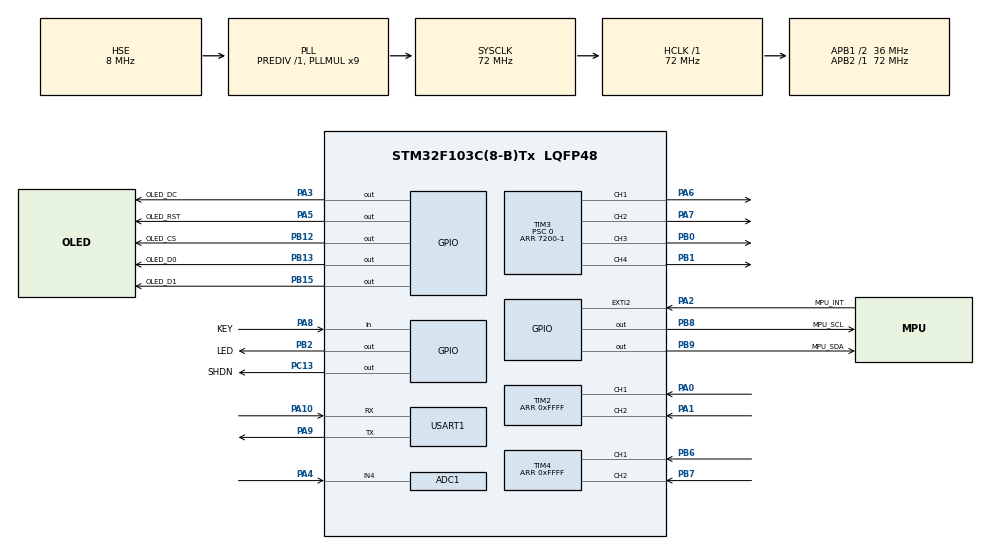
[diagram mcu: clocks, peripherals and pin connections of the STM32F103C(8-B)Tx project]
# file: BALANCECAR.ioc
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ADC1.Channel-0\#ChannelRegularConversion=ADC_CHANNEL_4
ADC1.NbrOfConversionFlag=1
ADC1.Rank-0\#ChannelRegularConversion=1
ADC1.SamplingTime-0\#ChannelRegularConversion=ADC_SAMPLETIME_239CYCLES_5
ADC1.master=1
Dma.Request0=USART1_RX
Dma.USART1_RX.0.Direction=DMA_PERIPH_TO_MEMORY
Dma.USART1_RX.0.Instance=DMA1_Channel5
Dma.USART1_RX.0.MemDataAlignment=DMA_MDATAALIGN_BYTE
Dma.USART1_RX.0.MemInc=DMA_MINC_ENABLE
Dma.USART1_RX.0.Mode=DMA_CIRCULAR
Dma.USART1_RX.0.PeriphDataAlignment=DMA_PDATAALIGN_BYTE
Dma.USART1_RX.0.PeriphInc=DMA_PINC_DISABLE
Dma.USART1_RX.0.Priority=DMA_PRIORITY_LOW
Mcu.Family=STM32F1
Mcu.Name=STM32F103C(8-B)Tx
Mcu.Package=LQFP48
NVIC.DMA1_Channel5_IRQn=true\:0\:0\:false\:false\:true\:false\:true
NVIC.PriorityGroup=NVIC_PRIORITYGROUP_4
NVIC.TIM2_IRQn=true\:1\:0\:true\:false\:true\:true\:true
NVIC.TIM4_IRQn=true\:1\:0\:true\:false\:true\:true\:true
NVIC.USART1_IRQn=true\:2\:0\:true\:false\:true\:true\:true
PA0-WKUP.Signal=S_TIM2_CH1_ETR
PA1.Signal=S_TIM2_CH2
PA10.Mode=Asynchronous
PA10.Signal=USART1_RX
PA13.Mode=Serial_Wire
PA13.Signal=SYS_JTMS-SWDIO
PA14.Mode=Serial_Wire
PA14.Signal=SYS_JTCK-SWCLK
PA2.GPIO_Label=MPU_INT
PA2.GPIO_PuPd=GPIO_PULLUP
PA2.Signal=GPXTI2
PA3.GPIO_Label=OLED_DC
PA3.GPIO_Speed=GPIO_SPEED_FREQ_HIGH
PA3.PinState=GPIO_PIN_SET
PA3.Signal=GPIO_Output
PA4.Signal=ADCx_IN4
PA5.GPIO_Label=OLED_RST
PA5.GPIO_Speed=GPIO_SPEED_FREQ_HIGH
PA5.PinState=GPIO_PIN_SET
PA5.Signal=GPIO_Output
PA6.Signal=S_TIM3_CH1
PA7.Signal=S_TIM3_CH2
PA8.GPIO_Label=KEY
PA8.GPIO_PuPd=GPIO_PULLUP
PA8.Signal=GPIO_Input
PA9.Mode=Asynchronous
PA9.Signal=USART1_TX
PB0.Signal=S_TIM3_CH3
PB1.Signal=S_TIM3_CH4
PB12.GPIO_Label=OLED_CS
PB12.GPIO_Speed=GPIO_SPEED_FREQ_HIGH
PB12.PinState=GPIO_PIN_SET
PB12.Signal=GPIO_Output
PB13.GPIO_Label=OLED_D0
PB13.GPIO_Speed=GPIO_SPEED_FREQ_HIGH
PB13.PinState=GPIO_PIN_SET
PB13.Signal=GPIO_Output
PB15.GPIO_Label=OLED_D1
PB15.GPIO_Speed=GPIO_SPEED_FREQ_HIGH
PB15.PinState=GPIO_PIN_SET
PB15.Signal=GPIO_Output
PB2.GPIO_Label=LED
PB2.PinState=GPIO_PIN_SET
PB2.Signal=GPIO_Output
PB6.Signal=S_TIM4_CH1
PB7.Signal=S_TIM4_CH2
PB8.GPIO_Label=MPU_SCL
PB8.GPIO_ModeDefaultOutputPP=GPIO_MODE_OUTPUT_OD
PB8.GPIO_PuPd=GPIO_PULLUP
PB8.GPIO_Speed=GPIO_SPEED_FREQ_HIGH
PB8.Signal=GPIO_Output
PB9.GPIO_Label=MPU_SDA
PB9.GPIO_ModeDefaultOutputPP=GPIO_MODE_OUTPUT_OD
PB9.GPIO_PuPd=GPIO_PULLUP
PB9.GPIO_Speed=GPIO_SPEED_FREQ_HIGH
PB9.Signal=GPIO_Output
PC13-TAMPER-RTC.GPIO_Label=SHDN
PC13-TAMPER-RTC.Signal=GPIO_Output
PC14-OSC32_IN.Mode=LSE-External-Oscillator
PC14-OSC32_IN.Signal=RCC_OSC32_IN
PC15-OSC32_OUT.Mode=LSE-External-Oscillator
PC15-OSC32_OUT.Signal=RCC_OSC32_OUT
PD0-OSC_IN.Mode=HSE-External-Oscillator
PD0-OSC_IN.Signal=RCC_OSC_IN
PD1-OSC_OUT.Mode=HSE-External-Oscillator
PD1-OSC_OUT.Signal=RCC_OSC_OUT
ProjectManager.HeapSize=0x200
ProjectManager.StackSize=0x400
ProjectManager.TargetToolchain=MDK-ARM V5
RCC.ADCPresc=RCC_ADCPCLK2_DIV6
RCC.AHBFreq_Value=72000000
RCC.APB1CLKDivider=RCC_HCLK_DIV2
RCC.APB1Freq_Value=36000000
RCC.APB1TimFreq_Value=72000000
RCC.APB2Freq_Value=72000000
RCC.APB2TimFreq_Value=72000000
RCC.HCLKFreq_Value=72000000
RCC.PLLMUL=RCC_PLL_MUL9
RCC.PLLSourceVirtual=RCC_PLLSOURCE_HSE
RCC.RTCClockSelection=RCC_RTCCLKSOURCE_LSE
RCC.SYSCLKFreq_VALUE=72000000
RCC.SYSCLKSource=RCC_SYSCLKSOURCE_PLLCLK
RCC.USBFreq_Value=72000000
SH.ADCx_IN4.0=ADC1_IN4,IN4
SH.S_TIM2_CH1_ETR.0=TIM2_CH1,Encoder_Interface
SH.S_TIM2_CH2.0=TIM2_CH2,Encoder_Interface
SH.S_TIM3_CH1.0=TIM3_CH1,PWM Generation1 CH1
SH.S_TIM3_CH2.0=TIM3_CH2,PWM Generation2 CH2
SH.S_TIM3_CH3.0=TIM3_CH3,PWM Generation3 CH3
SH.S_TIM3_CH4.0=TIM3_CH4,PWM Generation4 CH4
SH.S_TIM4_CH1.0=TIM4_CH1,Encoder_Interface
SH.S_TIM4_CH2.0=TIM4_CH2,Encoder_Interface
TIM2.Period=0xFFFF
TIM3.Channel-PWM\ Generation1\ CH1=TIM_CHANNEL_1
TIM3.Channel-PWM\ Generation2\ CH2=TIM_CHANNEL_2
TIM3.Channel-PWM\ Generation3\ CH3=TIM_CHANNEL_3
TIM3.Channel-PWM\ Generation4\ CH4=TIM_CHANNEL_4
TIM3.Period=7200-1
TIM3.Prescaler=0
TIM4.Period=0xFFFF
USART1.VirtualMode=VM_ASYNC
VP_RTC_No_RTC_Output.Mode=RTC_OUT_NO
VP_RTC_VS_RTC_Activate.Mode=RTC_Enabled
VP_TIM3_VS_ClockSourceINT.Mode=Internal
board=custom

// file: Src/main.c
/* USER CODE BEGIN Header */
/**
  ******************************************************************************
  * @file           : main.c
  * @brief          : Main program body
  ******************************************************************************
  * @attention
  *
  * <h2><center>&copy; Copyright (c) 2020 STMicroelectronics.
  * All rights reserved.</center></h2>
  *
  * This software component is licensed by ST under BSD 3-Clause license,
  * the "License"; You may not use this file except in compliance with the
  * License. You may obtain a copy of the License at:
  *                        opensource.org/licenses/BSD-3-Clause
  *
  ******************************************************************************
  */
/* USER CODE END Header */

#include "main.h"
#include "adc.h"
#include "dma.h"
#include "rtc.h"
#include "tim.h"
#include "usart.h"
#include "gpio.h"

/* USER CODE BEGIN Includes */
#include "oled.h"
#include "mpu6050.h"
#include "motor.h"
/* USER CODE END Includes */

void SystemClock_Config(void);

/* USER CODE BEGIN 0 */
void NVIC_SetVectorTable(uint32_t NVIC_VectTab, uint32_t Offset)
{
    /* Check the parameters */
    assert_param(IS_NVIC_VECTTAB(NVIC_VectTab));
    assert_param(IS_NVIC_OFFSET(Offset));

    SCB->VTOR = NVIC_VectTab | (Offset & (uint32_t)0x1FFFFF80);
}

void Get_Battery_Message(float * vol,uint8_t * percent)
{
    static uint8_t flag = 0;
    uint32_t ADCConvertedValue;
    float battery=0;
    uint32_t temp=0;
    uint8_t i=0,j=0;

    for(i=0; i<5; i++)
    {
        HAL_ADC_Start(&hadc1);
        HAL_ADC_PollForConversion(&hadc1, 50);
        if(HAL_IS_BIT_SET(HAL_ADC_GetState(&hadc1), HAL_ADC_STATE_REG_EOC))
        {
            ADCConvertedValue = HAL_ADC_GetValue(&hadc1);
            j++;
            temp += ADCConvertedValue;
        }
    }
    ADCConvertedValue = temp / j;
// HAL_ADC_Start(&hadc1);
// HAL_ADC_PollForConversion(&hadc1, 50);
// if(HAL_IS_BIT_SET(HAL_ADC_GetState(&hadc1), HAL_ADC_STATE_REG_EOC))
    {
//  ADCConvertedValue = HAL_ADC_GetValue(&hadc1);
        float bat = ADCConvertedValue * 3.3f * 11 / 4.096f;
        battery = (bat * 0.001f - 3.25f * 4) * 100 / (4.15f * 4 - 3.25f * 4);
        if(battery >= 100)
        {
            battery = 100;
        }
        else if(battery <= 0)
        {
            battery = 0;
        }
        if(!flag)
        {
            flag = 1;
            * vol = bat * 0.001f;
            * percent = (uint8_t)battery;
        }
        else
        {
            * vol = * vol * 0.9f + bat * 0.0001f;
            * percent = * percent * 0.9f + (uint8_t)battery * 0.1f;
        }
    }
}

#define LOW_POWER_EN 0

#if (LOW_POWER_EN > 0)

#define LOW_VOL 20    //低电量警告阈值
#define ENOUGH_VOL 35   //解除低电量阈值
#define POWER_TEST_TIME 1600 //一分钟持续检测

uint16_t low_power_count=0;  //低电量计数
uint8_t low_power_flag = 0;  //低电量标志

void low_power_check(void)
{
    float bat;
    uint8_t per;
    Get_Battery_Message(&bat,&per);
    if(per < LOW_VOL)
    {
        low_power_count ++;
        if(low_power_count > POWER_TEST_TIME)
        {
            low_power_count = POWER_TEST_TIME;
            low_power_flag = 1;
        }
    }
    else if(low_power_flag == 1)
    {
        if(per >= ENOUGH_VOL)
        {
            if(low_power_count > 0)
            {
                low_power_count --;
            }
            else if(low_power_count == 0)
            {
                low_power_flag = 0;
            }
        }
    }
}
#endif

extern unsigned short SoftTimer[5];
extern float Pitch,Roll,Yaw;
extern float g_fLeftMotorOut;
extern float g_fRightMotorOut;

volatile uint8_t system_ok_flag = 0;

//秒级任务
void SecTask()
{
    if(SoftTimer[0])
        return;
    else
    {
        SoftTimer[0] = 1000;
    }
    g_RunTime++;    // 记录运行时间

    g_BatVolt = 720; // 读取电池电压
    if(StatusFlag)
    ResponseStatus();

    HAL_GPIO_WritePin(LED_GPIO_Port,LED_Pin,GPIO_PIN_RESET);
}

__IO uint8_t usart_temp;

void HAL_UART_RxCpltCallback(UART_HandleTypeDef *huart)
{
    if(huart->Instance == USART1)
    {
        if(Uart2Index>=Uart2BufferSize)Uart2Index = 0;
        {
            Uart2Buffer[Uart2Index++] = usart_temp;
        }
        HAL_UART_Receive_DMA(&huart1,(uint8_t *)&usart_temp,1);
    }
}

/* USER CODE END 0 */

int main(void)
{
  /* USER CODE BEGIN 1 */
    char string_val[200];
    float battery=0;        //电压
    uint8_t persent=0;      //电量百分比
    uint8_t refresh_data=0;
  /* USER CODE END 1 */

  /* MCU Configuration--------------------------------------------------------*/

  /* Reset of all peripherals, Initializes the Flash interface and the Systick. */
  HAL_Init();

  /* Configure the system clock */
  SystemClock_Config();

  /* Initialize all configured peripherals */
  MX_GPIO_Init();
  MX_DMA_Init();
  MX_RTC_Init();
  MX_USART1_UART_Init();
  MX_ADC1_Init();
  MX_TIM2_Init();
  MX_TIM3_Init();
  MX_TIM4_Init();
  /* USER CODE BEGIN 2 */
    RTC_Init();

    i2cInit();    //初始化I2C
    MPU6050_Init();

    OLED_Init();
    OLED_Clear();
    OLED_ShowString(0,0,"Balance V1.3",16);
    OLED_Refresh_Gram();
    printf("hello world\r\n");

    HAL_TIM_PWM_Start(&htim3,TIM_CHANNEL_1);
    HAL_TIM_PWM_Start(&htim3,TIM_CHANNEL_2);
    HAL_TIM_PWM_Start(&htim3,TIM_CHANNEL_3);
    HAL_TIM_PWM_Start(&htim3,TIM_CHANNEL_4);
    __HAL_TIM_SET_COMPARE(&htim3,TIM_CHANNEL_1,0);
    __HAL_TIM_SET_COMPARE(&htim3,TIM_CHANNEL_2,0);//CC2>CC1电机1轴顺时针旋转
    __HAL_TIM_SET_COMPARE(&htim3,TIM_CHANNEL_3,0);
    __HAL_TIM_SET_COMPARE(&htim3,TIM_CHANNEL_4,0);//CC4>CC3电机2轴顺时针旋转
    HAL_TIM_Encoder_Start(&htim2,TIM_CHANNEL_ALL);
    HAL_TIM_Encoder_Start(&htim4,TIM_CHANNEL_ALL);
    g_cMotorDisable = 0;

    //PIDInit();
    CarUpstandInit();

    system_ok_flag = 1;

    HAL_GPIO_WritePin(SHDN_GPIO_Port,SHDN_Pin,GPIO_PIN_SET);
  /* USER CODE END 2 */

  /* Infinite loop */
  /* USER CODE BEGIN WHILE */
    HAL_UART_Receive_DMA(&huart1,(uint8_t *)&usart_temp,1);

    while (1)
    {
    /* USER CODE END WHILE */

    /* USER CODE BEGIN 3 */

        SecTask();

        if(SoftTimer[1] == 0)
        {
            // 每隔50ms 执行一次
            SoftTimer[1] = 20;
            ResponseIMU();
            Parse(Uart2Buffer);
        }
        if(SoftTimer[2] == 0)
        {
            SoftTimer[2] = 20;
            HAL_GPIO_WritePin(LED_GPIO_Port,LED_Pin,GPIO_PIN_SET);
        }
        if(SoftTimer[3] == 0)
        {
            //低压告警,低于11.1V开启声光告警
            SoftTimer[3] = 100;
            Get_Battery_Message(&battery,&persent);
//            sprintf(string_val,"电压:%.2fV",battery);
//            show_str(30,16,(const uint8_t *)string_val,16,16);
            sprintf(string_val,"%3d%s",persent,"%");
            show_str(78 + 6,1,string_val,16,16);
            oled_showPicture(110+6,0,(uint8_t *)bmp_battery[persent*12/99],10,16);

            sprintf(string_val,"Ang:%4d.%02d",(int)Pitch,(int)fabsf((float)Pitch*100)%100);
            show_str(0,48,string_val,16,16);

            sprintf(string_val,"P:%5d,%5d",(int)g_fLeftMotorOut,(int)g_fRightMotorOut);
            show_str(0,16,string_val,12,16);

            sprintf(string_val,"E:%5d,%5d",(int)g_s16LeftMotorPulse,(int)g_s16RightMotorPulse);
            show_str(0,32,string_val,12,16);

            OLED_Refresh_Gram();
        }
#if (LOW_POWER_EN > 0)
        low_power_check();
        if(low_power_flag == 1)
        {
            refresh_data = 0;     //借用界面刷新数据标记
            OLED_Clear();
            show_str(0,16,"电量低请充电",16,16);
            while(1)
            {
                if((refresh_data % 30) == 0) //30 * 100 = 3S刷新一次显示
                {
                    Get_Battery_Message(&battery,&persent);
                    sprintf(string_val,"电压:%.03fV",battery);
                    show_str(0,32,(const uint8_t *)string_val,16,16);
                    sprintf(string_val,"%3d%s",(uint8_t)persent,"%");
                    show_str(78 + 6,1,(const uint8_t *)string_val,16,16);
                    oled_showPicture(110+6,0,bmp_battery[(uint8_t)persent*12/99],10,16);
                    sprintf(string_val,"%4d",(uint16_t)low_power_count);
                    show_str(0,48,(const uint8_t *)string_val,16,16);
                    OLED_Refresh_Gram();
                }
                refresh_data ++;
                low_power_check();

                if(low_power_flag == 0)
                {
                    OLED_Clear();
                    show_str(0,0,"Balance V1",16,16);
                    OLED_Refresh_Gram();
                    break;
                }
                HAL_Delay(99);
            }
        }
#endif
    }
  /* USER CODE END 3 */
}

void SystemClock_Config(void)
{
  RCC_OscInitTypeDef RCC_OscInitStruct = {0};
  RCC_ClkInitTypeDef RCC_ClkInitStruct = {0};
  RCC_PeriphCLKInitTypeDef PeriphClkInit = {0};

  /** Initializes the CPU, AHB and APB busses clocks
  */
  RCC_OscInitStruct.OscillatorType = RCC_OSCILLATORTYPE_HSE|RCC_OSCILLATORTYPE_LSE;
  RCC_OscInitStruct.HSEState = RCC_HSE_ON;
  RCC_OscInitStruct.HSEPredivValue = RCC_HSE_PREDIV_DIV1;
  RCC_OscInitStruct.LSEState = RCC_LSE_ON;
  RCC_OscInitStruct.HSIState = RCC_HSI_ON;
  RCC_OscInitStruct.PLL.PLLState = RCC_PLL_ON;
  RCC_OscInitStruct.PLL.PLLSource = RCC_PLLSOURCE_HSE;
  RCC_OscInitStruct.PLL.PLLMUL = RCC_PLL_MUL9;
  if (HAL_RCC_OscConfig(&RCC_OscInitStruct) != HAL_OK)
  {
    Error_Handler();
  }
  /** Initializes the CPU, AHB and APB busses clocks
  */
  RCC_ClkInitStruct.ClockType = RCC_CLOCKTYPE_HCLK|RCC_CLOCKTYPE_SYSCLK
                              |RCC_CLOCKTYPE_PCLK1|RCC_CLOCKTYPE_PCLK2;
  RCC_ClkInitStruct.SYSCLKSource = RCC_SYSCLKSOURCE_PLLCLK;
  RCC_ClkInitStruct.AHBCLKDivider = RCC_SYSCLK_DIV1;
  RCC_ClkInitStruct.APB1CLKDivider = RCC_HCLK_DIV2;
  RCC_ClkInitStruct.APB2CLKDivider = RCC_HCLK_DIV1;

  if (HAL_RCC_ClockConfig(&RCC_ClkInitStruct, FLASH_LATENCY_2) != HAL_OK)
  {
    Error_Handler();
  }
  PeriphClkInit.PeriphClockSelection = RCC_PERIPHCLK_RTC|RCC_PERIPHCLK_ADC;
  PeriphClkInit.RTCClockSelection = RCC_RTCCLKSOURCE_LSE;
  PeriphClkInit.AdcClockSelection = RCC_ADCPCLK2_DIV6;
  if (HAL_RCCEx_PeriphCLKConfig(&PeriphClkInit) != HAL_OK)
  {
    Error_Handler();
  }
}

void Error_Handler(void)
{
}

/************************ (C) COPYRIGHT STMicroelectronics *****END OF FILE****/
